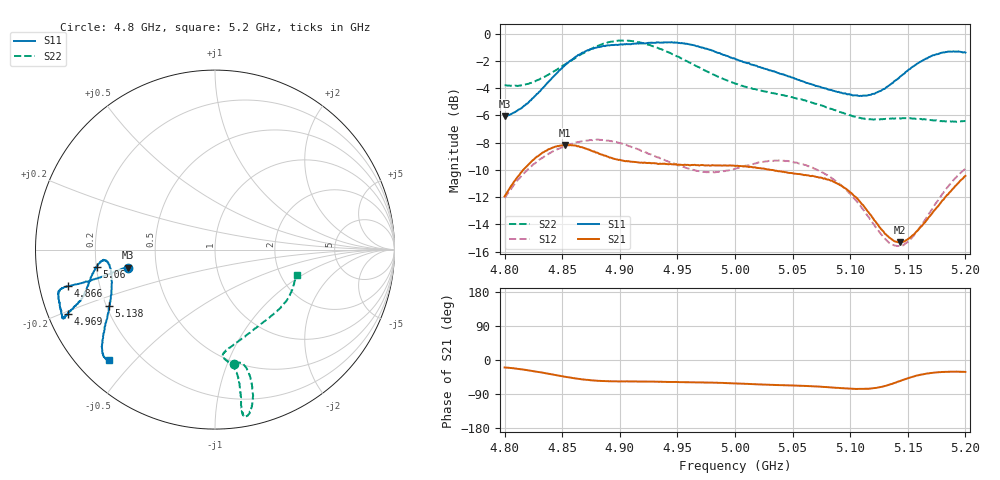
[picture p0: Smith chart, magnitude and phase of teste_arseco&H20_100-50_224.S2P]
! Network Analyzer HP8722D
! Hewlett-Packard
! Data name: Linha & Wilkinson
! Saver's name: Rodrigo Anjos
! Comments: Teste da utilização de aquisição
! continua pelo VNA HP8722D
! Time and date: 6/5/2025 14:26
!  Frequency  S11  S21  S12  S22
# HZ  S  MA R 50
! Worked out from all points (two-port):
!   401 points, 4.8 GHz to 5.2 GHz, reference 50 ohm
!   highest |S21| = -8.18 dB at 4.852 GHz (marker M1); lowest = -15.3 dB at 5.143 GHz (marker M2)
!   |S21| within 3 dB of the highest: 4.806 GHz to 5.093 GHz (287 MHz wide, 5.8 % of centre); 5.191381 GHz to end of sweep
!   lowest |S11| = -6.1 dB at 4.8 GHz (marker M3), VSWR 2.97, Z = 17 - j4.55 ohm
!   |S11| at or under -10 dB: nowhere
!   |S22| runs from -6.5 to -0.5 dB; largest |S21 - S12| = 0.62
!   S11 on the Smith chart (normalised r, x): 4.8 GHz: 0.34, -0.09; 4.866 GHz: 0.09, -0.12; 4.969 GHz: 0.06, -0.21; 5.06 GHz: 0.20, -0.07; 5.138 GHz: 0.21, -0.24; 5.2 GHz: 0.09, -0.42
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4.8e9  0.4968 -168.3  0.2526 -19.8  0.2492 -141.1  0.6473 -80.4
4.825e9  0.582 -167.4  0.3443 -29.2  0.3317 -144.4  0.6653 -75.8
4.852e9  0.7639 -165.9  0.39 -43.9  0.3861 -149.5  0.7692 -74.6
4.866e9  0.8426 -166.0  0.3832 -50.4  0.4018 -152.0  0.8372 -75.3
4.867e9  0.8498 -166.0  0.3832 -51.1  0.4027 -152.1  0.8437 -75.4
4.898e9  0.9095 -163.1  0.3451 -56.3  0.3984 -156.5  0.9424 -79.0
4.913e9  0.9199 -160.0  0.3383 -56.5  0.3811 -157.1  0.9384 -80.2
4.934e9  0.9296 -156.6  0.3325 -57.6  0.3511 -155.7  0.8829 -80.5
4.969e9  0.8949 -156.4  0.328 -59.0  0.3126 -147.4  0.7523 -79.7
5e9  0.8092 -159.0  0.3272 -61.9  0.3194 -137.3  0.6565 -81.3
5.036e9  0.7215 -165.7  0.3139 -66.0  0.3418 -134.4  0.6015 -85.7
5.06e9  0.666 -171.9  0.3024 -68.3  0.33 -136.2  0.5697 -84.3
5.067e9  0.6513 -173.1  0.3007 -69.2  0.3228 -136.8  0.558 -82.6
5.083e9  0.622 -174.4  0.2888 -72.3  0.297 -138.4  0.5303 -76.7
5.101e9  0.5974 -172.1  0.2596 -75.8  0.2551 -138.8  0.5006 -66.5
5.116e9  0.5959 -165.4  0.2207 -75.8  0.2122 -135.6  0.485 -55.7
5.134e9  0.6468 -154.3  0.1782 -65.2  0.1703 -120.6  0.4875 -43.3
5.138e9  0.6678 -152.0  0.1733 -61.1  0.1671 -115.5  0.4872 -40.8
5.143e9  0.6934 -149.3  0.1715 -55.8  0.1662 -108.9  0.4889 -38.0
5.154e9  0.756 -144.5  0.1817 -44.4  0.1792 -95.0  0.4878 -32.3
5.172e9  0.8344 -139.0  0.2215 -33.7  0.2301 -81.1  0.4806 -24.6
5.2e9  0.8531 -133.7  0.3005 -31.5  0.3193 -77.0  0.4779 -17.5
